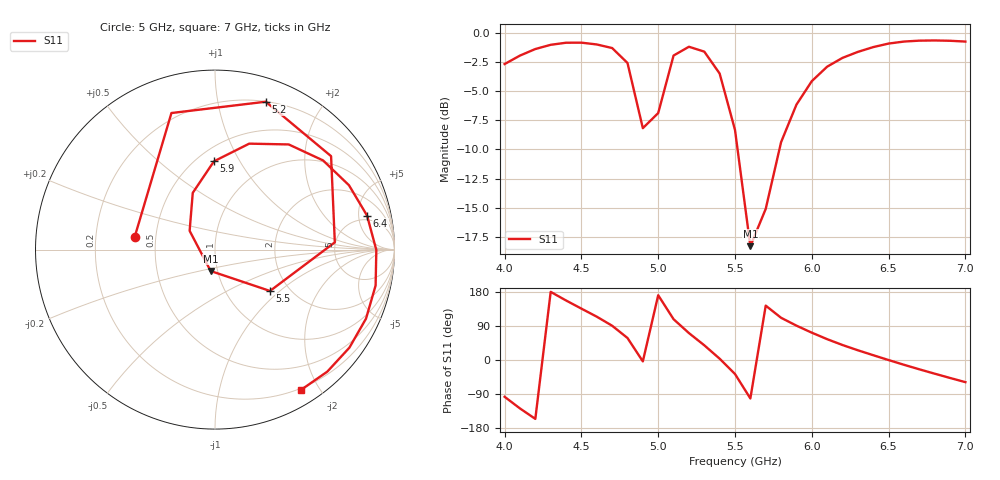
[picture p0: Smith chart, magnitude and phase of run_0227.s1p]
! Touchstone file exported from HFSS 2024.2.0
!  File:  C:/Users/wsak9/Desktop/Sim Fast/Widenad Patch/WP_AI_V1_sweep.aedt
!  Generated:  12:29:17 AM Oct 14, 2026
!  Design:  A1_model
!  Project:  WP_AI_V1_sweep
!  Setup:  Setup1
!  Solution:  Sweep
! Variables:
!  Air_gap = 3.33mm
!  Curve_Amp1 = 3.74
!  Curve_len1 = 1
!  Curve_pos = 11.97mm
!  Extra = 7.61mm
!  H_sub = 0.79mm
!  L_Patch = 19.94mm
!  L_Patch1 = 23.53mm
!  Sx = 3.65mm
!  Sy = 1.25mm
!  WS = 1.19mm
!  W_Patch = 19.05mm
!  W_Patch1 = 15.92mm
!Data is not renormalized
# GHz S MA
! Terminal data exported
! Port[1] = 1
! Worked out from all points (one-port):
!   31 points, 4 GHz to 7 GHz, reference per port
!   lowest |S11| = -18.3 dB at 5.6 GHz (marker M1), VSWR 1.28
!   |S11| at or under -10 dB: 5.517 GHz to 5.789 GHz (272.3 MHz wide, 4.82 % of centre)
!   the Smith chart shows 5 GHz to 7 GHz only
!   S11 on the Smith chart (normalised r, x): 5 GHz: 0.38, +0.07; 5.2 GHz: 0.20, +1.38; 5.5 GHz: 1.60, -0.86; 5.9 GHz: 0.60, +0.78; 6.4 GHz: 4.15, +6.39; 7 GHz: 0.18, -1.77
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4  0.7343 -97.1
4.1  0.7984 -127.8
4.2  0.8517 -155.4
4.3  0.8879 179.8
4.4  0.9063 157.1
4.5  0.907 135.6
4.6  0.891 114.3
4.7  0.8601 90.5
4.8  0.7424 58.1
4.9  0.3901 -3.7
5  0.4528 170.9
5.1  0.7987 107.7
5.2  0.8711 71.1
5.3  0.8302 38.8
5.4  0.6688 3.5
5.5  0.3834 -36.9
5.6  0.1217 -101.5
5.7  0.1759 143.5
5.8  0.3398 111.4
5.9  0.4919 90.7
6  0.6204 72.1
6.1  0.7155 55.0
6.3  0.8281 25.7
6.4  0.8681 12.6
6.5  0.8989 -0.2
6.7  0.9251 -24.6
6.9  0.924 -47.4
7  0.9168 -58.4
